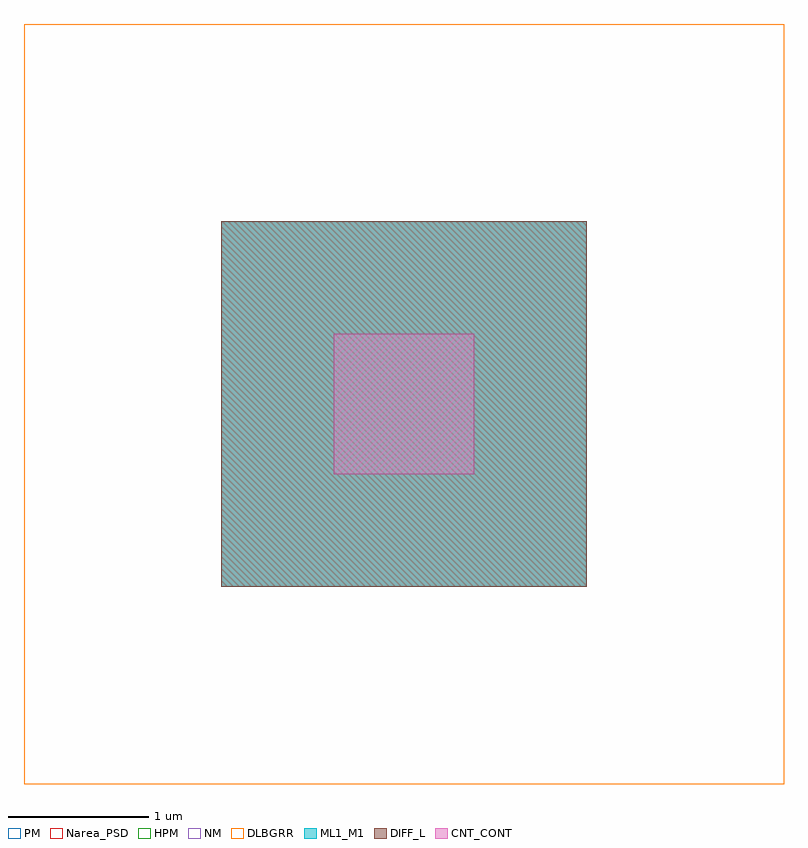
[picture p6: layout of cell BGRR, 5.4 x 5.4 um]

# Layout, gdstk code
import gdstk
lib = gdstk.Library(unit=1e-6, precision=1e-09)
def R(c, l, rs):  # rectangles x0, y0, x1, y1
    for r in rs: c.add(gdstk.rectangle(r[:2], r[2:], *l))
DIFF_L = (3, 0)
NM = (7, 0)
Narea_PSD = (9, 0)
CNT_CONT = (11, 0)
ML1_M1 = (13, 0)
HPM = (33, 0)
PM = (35, 0)
DLBGRR = (182, 0)

dcont = lib.new_cell('DCONT')
R(dcont, DIFF_L, [(-1.3,-1.3,1.3,1.3)])
R(dcont, CNT_CONT, [(-0.5,-0.5,0.5,0.5)])
R(dcont, ML1_M1, [(-1.3,-1.3,1.3,1.3), (-0.5,-0.5,0.5,0.5)])

bgrr = lib.new_cell('BGRR')
R(bgrr, NM, [(-2.7,-2.7,2.7,2.7)])
R(bgrr, Narea_PSD, [(-2.7,-2.7,2.7,2.7)])
R(bgrr, HPM, [(-2.7,-2.7,2.7,2.7)])
R(bgrr, PM, [(-2.7,-2.7,2.7,2.7)])
R(bgrr, DLBGRR, [(-2.7,-2.7,2.7,2.7)])
bgrr.add(gdstk.Reference(dcont, (0,0)))

lib.write_gds('BGRR.gds')
